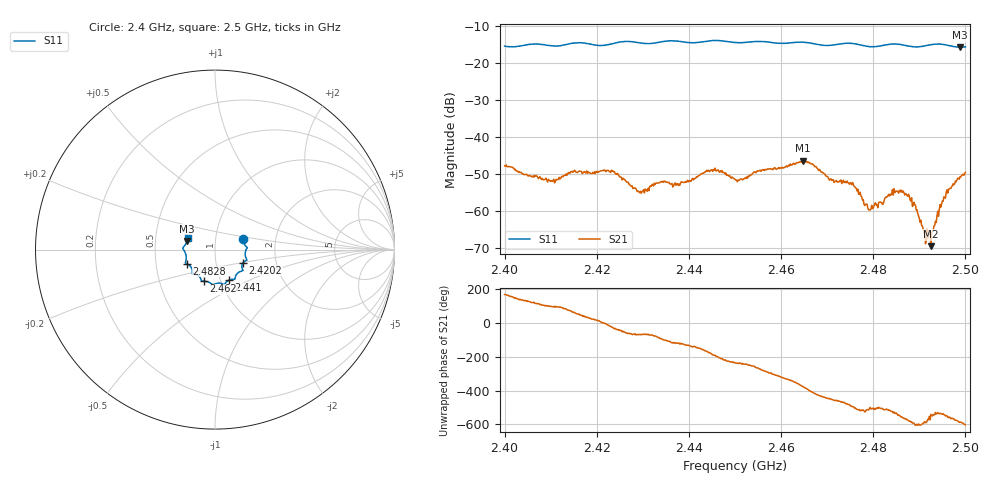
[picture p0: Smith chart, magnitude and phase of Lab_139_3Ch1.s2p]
# Hz S RI R 50
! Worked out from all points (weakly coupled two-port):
!   601 points, 2.4 GHz to 2.5 GHz, reference 50 ohm
!   highest |S21| = -46.41 dB at 2.4647 GHz (marker M1); lowest = -69.5 dB at 2.4925 GHz (marker M2)
!   lowest |S11| = -15.8 dB at 2.4988 GHz (marker M3), VSWR 1.39, Z = 36.4 + j3.42 ohm
!   |S11| at or under -10 dB: start of sweep to end of sweep
!   S12 and S22 are empty: the file has one direction only
!   S11 on the Smith chart (normalised r, x): 2.4 GHz: 1.36, +0.17; 2.4202 GHz: 1.36, -0.20; 2.441 GHz: 1.10, -0.39; 2.462 GHz: 0.83, -0.30; 2.4828 GHz: 0.72, -0.12; 2.5 GHz: 0.73, +0.09
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2.4e9  0.1572 0.0609  -0.00398 0.000876  0 0  0 0
2.4105e9  0.1688 -0.0126  -0.00026 0.00255  0 0  0 0
2.416667e9  0.1775 -0.0591  0.00247 0.0024  0 0  0 0
2.420167e9  0.157 -0.0719  0.00322 0.000772  0 0  0 0
2.429333e9  0.1413 -0.1218  0.000686 -0.00162  0 0  0 0
2.433333e9  0.1128 -0.1519  0.000141 -0.0024  0 0  0 0
2.441e9  0.0773 -0.1706  -0.00201 -0.00171  0 0  0 0
2.445833e9  0.0514 -0.1944  -0.00339 0.000939  0 0  0 0
2.45e9  0.0269 -0.1867  -0.00156 0.00218  0 0  0 0
2.462e9  -0.0614 -0.1761  0.00406 0.00151  0 0  0 0
2.464667e9  -0.0747 -0.1753  0.00462 -0.00123  0 0  0 0
2.466667e9  -0.0775 -0.1672  0.0029 -0.00322  0 0  0 0
2.4755e9  -0.1263 -0.1327  -0.00172 -0.00172  0 0  0 0
2.479333e9  -0.1316 -0.1005  -0.00078 -0.000679  0 0  0 0
2.482833e9  -0.1579 -0.0778  -0.0013 -0.000794  0 0  0 0
2.483333e9  -0.1607 -0.0766  -0.00155 -0.000652  0 0  0 0
2.487333e9  -0.161 -0.0562  -0.0014 0.000833  0 0  0 0
2.491e9  -0.1685 -0.0116  -0.000322 0.000393  0 0  0 0
2.4925e9  -0.1762 0.000794  -0.000336 2.76e-06  0 0  0 0
2.4955e9  -0.1759 0.0141  -0.00153 9.67e-05  0 0  0 0
2.498833e9  -0.1562 0.0458  -0.00206 0.00207  0 0  0 0
2.5e9  -0.1531 0.0619  -0.00156 0.00296  0 0  0 0
